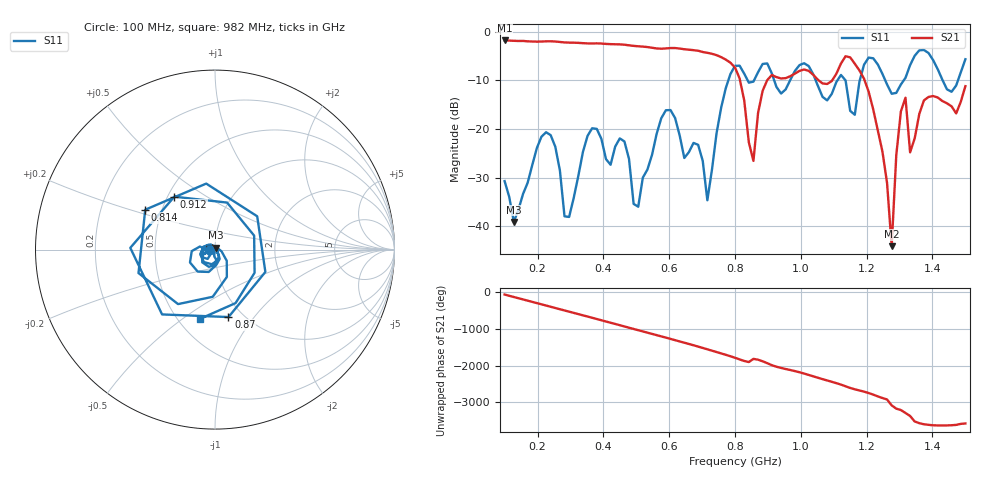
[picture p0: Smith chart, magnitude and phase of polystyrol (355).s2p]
! NanoVNA-App
! Date: 2025-09-25 15:32:39
! Start: 100MHz Stop: 1,5GHz Points: 101
! S-Parameter data: F S11 S21 S12 S22
# Hz S RI R 50
!  Frequency  S11_Real  S11_Imag  S21_Real  S21_Imag  S12_Real  S12_Imag  S22_Real  S22_Imag
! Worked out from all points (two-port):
!   101 points, 100 MHz to 1.5 GHz, reference 50 ohm
!   highest |S21| = -1.80 dB at 100 MHz (marker M1); lowest = -44.1 dB at 1.276 GHz (marker M2)
!   |S21| within 3 dB of the highest: start of sweep to 742.9 MHz
!   lowest |S11| = -39.1 dB at 128 MHz (marker M3), VSWR 1.02, Z = 50.3 + j1.06 ohm
!   |S11| at or under -10 dB: start of sweep to 779.7 MHz; 1.045 GHz to 1.111 GHz (66.02 MHz wide, 6.12 % of centre); 1.136 GHz to 1.179 GHz (43.25 MHz wide, 3.74 % of centre) (the widest 3 of 7)
!   S12 and S22 are empty: the file has one direction only
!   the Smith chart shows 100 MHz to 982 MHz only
!   S11 on the Smith chart (normalised r, x): 100 MHz: 0.94, -0.01; 814 MHz: 0.40, +0.22; 870 MHz: 0.86, -0.75; 912 MHz: 0.54, +0.37; 982 MHz: 0.64, -0.58
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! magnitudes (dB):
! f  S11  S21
! 100 MHz  -30.7  -1.8
! 128 MHz  -39.1  -1.9
! 212 MHz  -21.6  -2.0
! 282 MHz  -37.9  -2.2
! 338 MHz  -24.7  -2.4
! 464 MHz  -22.5  -2.7
! 506 MHz  -36.0  -3.0
! 576 MHz  -17.8  -3.5
! 716 MHz  -34.6  -4.3
! 800 MHz  -7.0  -7.3
! 814 MHz  -7.0  -9.6
! 856 MHz  -10.3  -26.5
! 870 MHz  -8.3  -16.7
! 912 MHz  -8.6  -8.9
! 982 MHz  -8.1  -8.6
! 1.038 GHz  -8.8  -8.9
! 1.164 GHz  -17.1  -6.6
! 1.192 GHz  -6.8  -9.7
! 1.276 GHz  -12.7  -44.1
! 1.318 GHz  -9.5  -13.6
! 1.332 GHz  -6.9  -24.8
! 1.5 GHz  -5.7  -11.2
